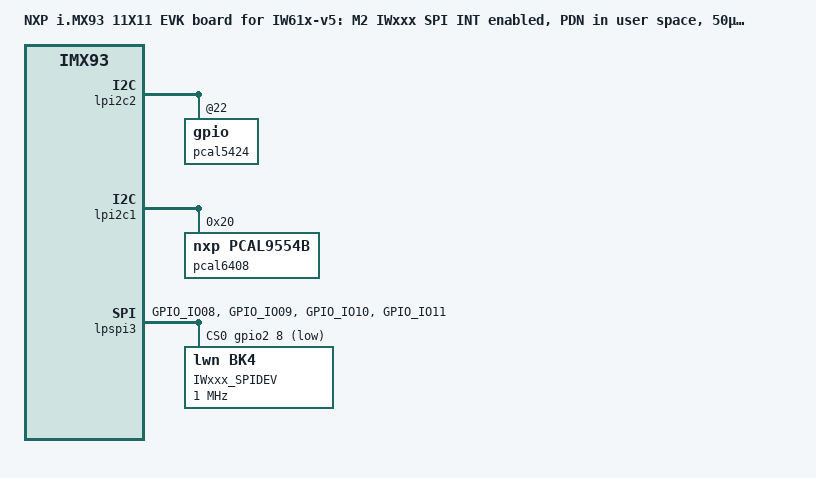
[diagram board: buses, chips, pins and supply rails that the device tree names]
// SPDX-License-Identifier: (GPL-2.0+ OR MIT)
/*
 * Copyright 2024-2025 NXP
 */

/* Supported for chipsets:
 - 9177
 Chip support list end */

#include "imx93-11x11-evk.dts"

/ {
	// Patch for IW61x:
	// v1: ffu_gpio_irq (make GPIO_SPI_INT interruptible)
	// v2: make gpio IW61x_PD_N, M2 Murata_SPI_ENABLE, IW61x_IND_RST_15_4 drivable from userspace
	// v3: make gpio IW61x_PD_N, IW61x_IND_RST_15_4 drivable from userspace
	// v4: gpio naming and options description in model
	// v5: SPI 50µs interleaved
	model = "NXP i.MX93 11X11 EVK board for IW61x-v5: M2 IWxxx SPI INT enabled, PDN in user space, 50µs delay";
};

&reg_usdhc3_vmmc {
	// Remap gpio to P1_0 which is not used AND not connected (R131: DNP) to leave pcal6524 20 free for the user space
	gpio = <&pcal6524 9 GPIO_ACTIVE_HIGH>;
	//gpio = <&pcal6524 20 GPIO_ACTIVE_HIGH>;
};

&flexcan2 {
	status = "disabled";
};

&lpuart7 {
	status = "disabled";
};

&lpi2c2 {
	pcal5424: gpio@22 {
		gpio-line-names = "", "", "", "", "", "", "", "", "", "", "IWxxx_NB_SPI_INT", "", "", "", "", "", "", "", "", "", "IWxxx_PD_N";
	};
};

&lpi2c1 {
	pcal6408: gpio@20 {
		compatible = "nxp,pcal9554b";
		reg = <0x20>;
		gpio-controller;
		#gpio-cells = <2>;
		status = "okay";
		gpio-line-names = "IWxxx_NB_SPI_ENA", "IWxxx_NB_IND_RST_15_4";
	};
};
&lpspi3 {
	fsl,spi-num-chipselects = <1>;
	pinctrl-names = "default", "sleep";
	pinctrl-0 = <&pinctrl_lpspi3>;
	pinctrl-1 = <&pinctrl_lpspi3>;
	cs-gpios = <&gpio2 8 GPIO_ACTIVE_LOW>;
	pinctrl-assert-gpios = <&adp5585gpio 4 GPIO_ACTIVE_LOW>;
	pinctrl-assert-gpios = <&pcal6408 0 GPIO_ACTIVE_HIGH>;
	status = "okay";

	spidev0: spi@0 {
		reg = <0>;
		compatible = "lwn,bk4";
		spi-max-frequency = <1000000>;
		spi-cs-inactive-delay-ns = <50000>;
		label="IWxxx_SPIDEV";
	};
};

&iomuxc {
	pinctrl_lpspi3: lpspi3grp {
		fsl,pins = <
			MX93_PAD_GPIO_IO08__GPIO2_IO08      0x3fe
			MX93_PAD_GPIO_IO09__LPSPI3_SIN      0x3fe
			MX93_PAD_GPIO_IO10__LPSPI3_SOUT     0x3fe
			MX93_PAD_GPIO_IO11__LPSPI3_SCK      0x3fe
		>;
	};
};
